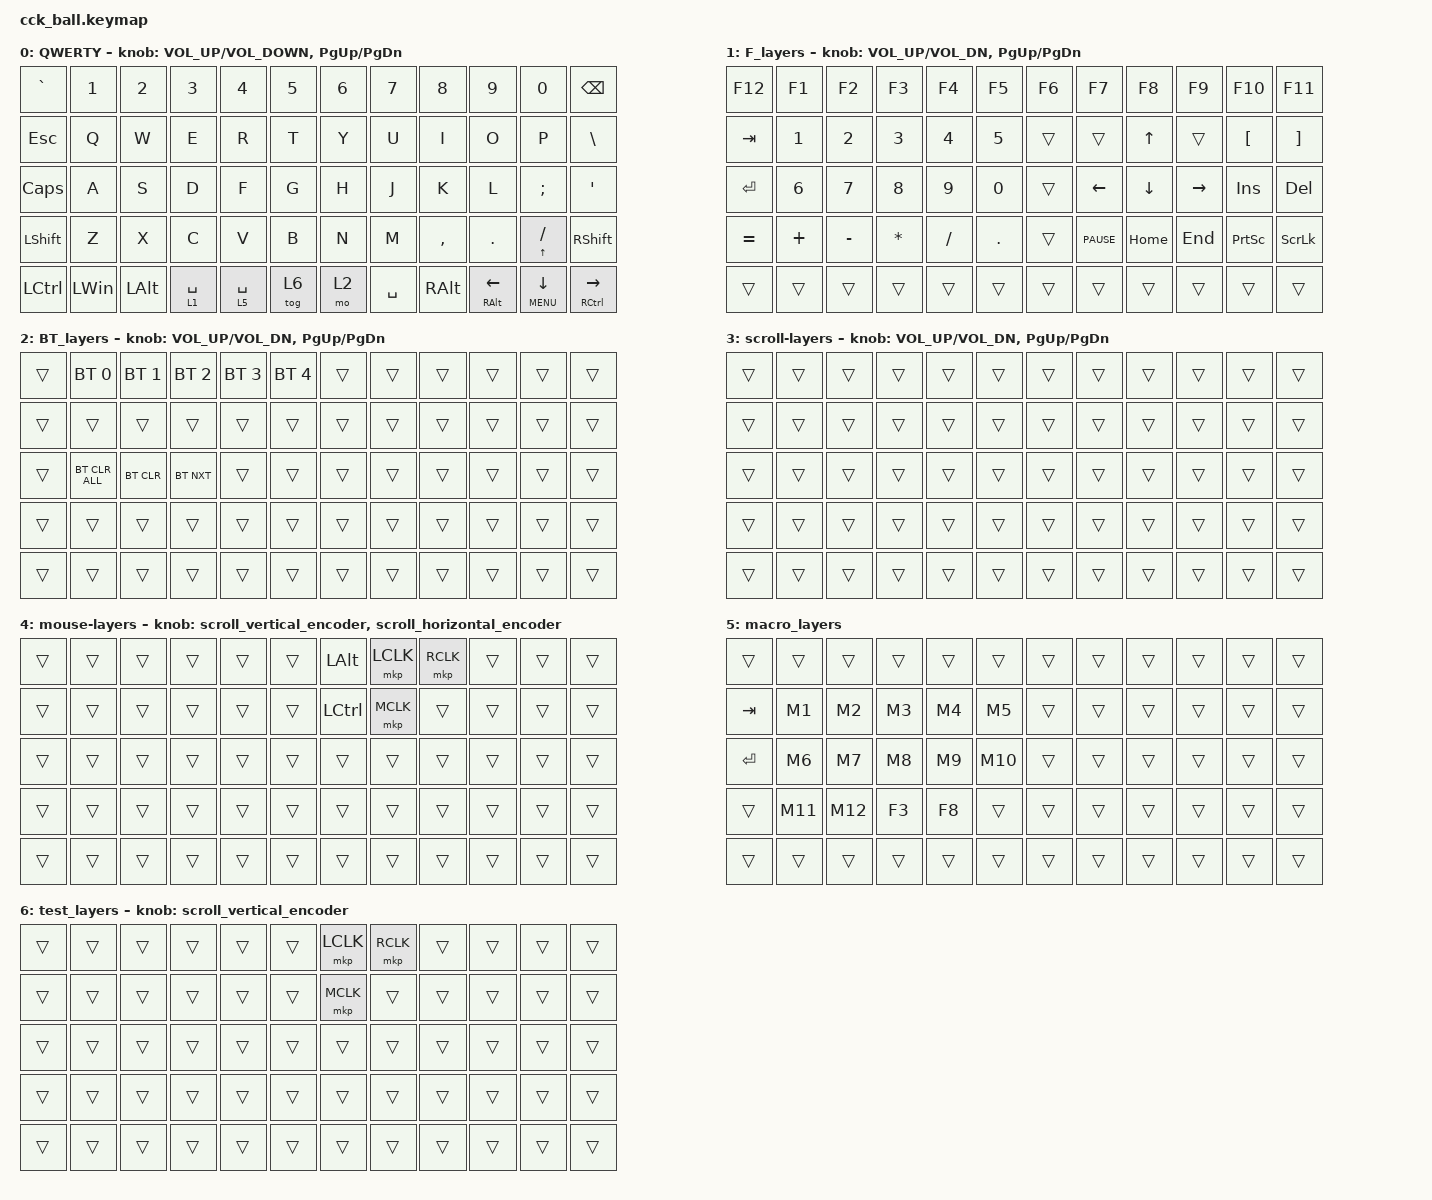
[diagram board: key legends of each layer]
#define ZMK_POINTING_DEFAULT_MOVE_VAL 1000 // 600
#define ZMK_POINTING_DEFAULT_SCRL_VAL 12   // 10

#include <input/processors.dtsi>
#include <zephyr/dt-bindings/input/input-event-codes.h>
#include <behaviors.dtsi>
#include <dt-bindings/zmk/bt.h>
#include <dt-bindings/zmk/keys.h>
#include <dt-bindings/zmk/pointing.h>

&mmv_input_listener { input-processors = <&zip_xy_scaler 2 1>; };

&msc_input_listener { input-processors = <&zip_scroll_scaler 2 1>; };

&msc {
    acceleration-exponent = <0>;      // 0
    time-to-max-speed-ms = <300>;       // 300
    delay-ms = <0>;                   // 0
};

&mmv {
    time-to-max-speed-ms = <500>;
    acceleration-exponent = <1>;
    trigger-period-ms = <16>;
};

&soft_off { hold-time-ms = <2000>; };

/ {
    // 上下滚动编码器行为

    scroll_vertical_encoder: scroll_vertical_encoder {
        compatible = "zmk,behavior-sensor-rotate";
        #sensor-binding-cells = <0>;
        bindings = <&msc SCRL_DOWN>, <&msc SCRL_UP>;

        tap-ms = <100>;
    };

    // 左右滚动编码器行为

    scroll_horizontal_encoder: scroll_horizontal_encoder {
        compatible = "zmk,behavior-sensor-rotate";
        #sensor-binding-cells = <0>;
        bindings = <&msc SCRL_LEFT>, <&msc SCRL_RIGHT>;

        tap-ms = <100>;
    };

    behaviors {
    };

    macros {
        M1: M1 {
            compatible = "zmk,behavior-macro";
            #binding-cells = <0>;
            bindings = <&kp LS(P) &kp LS(L) &kp RET>;
            label = "M1";
        };

        M2: M2 {
            compatible = "zmk,behavior-macro";
            #binding-cells = <0>;
            bindings = <&kp O &kp RET>;
            label = "M2";
        };

        M3: M3 {
            compatible = "zmk,behavior-macro";
            #binding-cells = <0>;
            bindings = <&kp M &kp RET>;
            label = "M3";
        };

        M4: M4 {
            compatible = "zmk,behavior-macro";
            #binding-cells = <0>;
            bindings = <&kp M &kp A &kp RET>;
            label = "M4";
        };

        M5: M5 {
            compatible = "zmk,behavior-macro";
            #binding-cells = <0>;
            bindings = <&kp R &kp O &kp RET>;
            label = "M5";
        };

        M6: M6 {
            compatible = "zmk,behavior-macro";
            #binding-cells = <0>;
            bindings = <&kp LS(A) &kp LS(L) &kp RET>;
            label = "M6";
        };

        M7: M7 {
            compatible = "zmk,behavior-macro";
            #binding-cells = <0>;
            bindings = <&kp LS(R) &kp LS(E) &kp LS(V) &kp LS(C) &kp LS(L) &kp LS(O) &kp LS(U) &kp LS(D) &kp RET>;
            label = "M7";
        };

        M8: M8 {
            compatible = "zmk,behavior-macro";
            #binding-cells = <0>;
            bindings = <&kp D &kp I &kp RET>;
            label = "M8";
        };

        M9: M9 {
            compatible = "zmk,behavior-macro";
            #binding-cells = <0>;
            bindings = <&kp P &kp RET>;
            label = "M9";
        };

        M10: mi {
            compatible = "zmk,behavior-macro";
            #binding-cells = <0>;
            bindings = <&kp M &kp I &kp RET>;
            label = "MI";
        };

        M11: M11 {
            compatible = "zmk,behavior-macro";
            #binding-cells = <0>;
            bindings = <&kp R &kp E &kp F &kp E &kp D &kp I &kp T &kp RET>;
            label = "M11";
        };

        M12: M12 {
            compatible = "zmk,behavior-macro";
            #binding-cells = <0>;
            bindings = <&kp R &kp E &kp F &kp C &kp L &kp O &kp S &kp E &kp RET>;
            label = "M12";
        };
    };

    keymap {
        compatible = "zmk,keymap";

        QWERTY {
            bindings = <
&kp GRAVE         &kp N1        &kp N2        &kp N3       &kp N4       &kp N5  &kp N6  &kp N7     &kp N8     &kp N9         &kp N0              &kp BACKSPACE
&kp ESC           &kp Q         &kp W         &kp E        &kp R        &kp T   &kp Y   &kp U      &kp I      &kp O          &kp P               &kp BSLH
&kp CAPSLOCK      &kp A         &kp S         &kp D        &kp F        &kp G   &kp H   &kp J      &kp K      &kp L          &kp SEMI            &kp SQT
&kp LEFT_SHIFT    &kp Z         &kp X         &kp C        &kp V        &kp B   &kp N   &kp M      &kp COMMA  &kp DOT        &mt UP_ARROW SLASH  &kp RSHFT
&kp LEFT_CONTROL  &kp LEFT_WIN  &kp LEFT_ALT  &lt 1 SPACE  &lt 5 SPACE  &tog 6  &mo 2   &kp SPACE  &kp RALT   &mt RALT LEFT  &mt K_MENU DOWN     &mt RCTRL RIGHT
            >;

            sensor-bindings =
                <&inc_dec_kp C_VOLUME_UP C_VOLUME_DOWN>,
                <&inc_dec_kp PG_UP PG_DN>;
        };

        F_layers {
            bindings = <
&kp F12    &kp F1        &kp F2        &kp F3        &kp F4        &kp F5        &kp F6  &kp F7       &kp F8          &kp F9     &kp F10           &kp F11
&kp TAB    &kp NUMBER_1  &kp NUMBER_2  &kp NUMBER_3  &kp NUMBER_4  &kp NUMBER_5  &trans  &trans       &kp UP_ARROW    &trans     &kp LEFT_BRACKET  &kp RIGHT_BRACKET
&kp ENTER  &kp NUMBER_6  &kp NUMBER_7  &kp NUMBER_8  &kp NUMBER_9  &kp NUMBER_0  &trans  &kp LEFT     &kp DOWN_ARROW  &kp RIGHT  &kp INS           &kp DEL
&kp EQUAL  &kp PLUS      &kp MINUS     &kp ASTERISK  &kp SLASH     &kp PERIOD    &trans  &kp C_PAUSE  &kp HOME        &kp END    &kp PRINTSCREEN   &kp SCROLLLOCK
&trans     &trans        &trans        &trans        &trans        &trans        &trans  &trans       &trans          &trans     &trans            &trans
            >;

            sensor-bindings = <&inc_dec_kp C_VOL_UP C_VOL_DN &inc_dec_kp PG_UP PG_DN>;
        };

        BT_layers {
            bindings = <
&trans  &bt BT_SEL 0    &bt BT_SEL 1  &bt BT_SEL 2  &bt BT_SEL 3  &bt BT_SEL 4  &trans  &trans  &trans  &trans  &trans  &trans
&trans  &trans          &trans        &trans        &trans        &trans        &trans  &trans  &trans  &trans  &trans  &trans
&trans  &bt BT_CLR_ALL  &bt BT_CLR    &bt BT_NXT    &trans        &trans        &trans  &trans  &trans  &trans  &trans  &trans
&trans  &trans          &trans        &trans        &trans        &trans        &trans  &trans  &trans  &trans  &trans  &trans
&trans  &trans          &trans        &trans        &trans        &trans        &trans  &trans  &trans  &trans  &trans  &trans
            >;

            sensor-bindings = <&inc_dec_kp C_VOL_UP C_VOL_DN &inc_dec_kp PG_UP PG_DN>;
        };

        scroll-layers {
            bindings = <
&trans  &trans  &trans  &trans  &trans  &trans  &trans  &trans  &trans  &trans  &trans  &trans
&trans  &trans  &trans  &trans  &trans  &trans  &trans  &trans  &trans  &trans  &trans  &trans
&trans  &trans  &trans  &trans  &trans  &trans  &trans  &trans  &trans  &trans  &trans  &trans
&trans  &trans  &trans  &trans  &trans  &trans  &trans  &trans  &trans  &trans  &trans  &trans
&trans  &trans  &trans  &trans  &trans  &trans  &trans  &trans  &trans  &trans  &trans  &trans
            >;

            sensor-bindings = <&inc_dec_kp C_VOL_UP C_VOL_DN &inc_dec_kp PG_UP PG_DN>;
        };

        mouse-layers {
            bindings = <
&trans  &trans  &trans  &trans  &trans  &trans  &kp LALT   &mkp LCLK  &mkp RCLK  &trans  &trans  &trans
&trans  &trans  &trans  &trans  &trans  &trans  &kp LCTRL  &mkp MCLK  &trans     &trans  &trans  &trans
&trans  &trans  &trans  &trans  &trans  &trans  &trans     &trans     &trans     &trans  &trans  &trans
&trans  &trans  &trans  &trans  &trans  &trans  &trans     &trans     &trans     &trans  &trans  &trans
&trans  &trans  &trans  &trans  &trans  &trans  &trans     &trans     &trans     &trans  &trans  &trans
            >;

            sensor-bindings =
                <&scroll_vertical_encoder>,
                // 编码器1：上下滚动,,,,,,,,,,,,,
                <&scroll_horizontal_encoder>;

            // 编码器2：左右滚动
        };

        macro_layers {
            bindings = <
&trans     &trans  &trans  &trans  &trans  &trans  &trans  &trans  &trans  &trans  &trans  &trans
&kp TAB    &M1     &M2     &M3     &M4     &M5     &trans  &trans  &trans  &trans  &trans  &trans
&kp ENTER  &M6     &M7     &M8     &M9     &M10    &trans  &trans  &trans  &trans  &trans  &trans
&trans     &M11    &M12    &kp F3  &kp F8  &trans  &trans  &trans  &trans  &trans  &trans  &trans
&trans     &trans  &trans  &trans  &trans  &trans  &trans  &trans  &trans  &trans  &trans  &trans
            >;
        };

        test_layers {
            bindings = <
&trans  &trans  &trans  &trans  &trans  &trans  &mkp LCLK  &mkp RCLK  &trans  &trans  &trans  &trans
&trans  &trans  &trans  &trans  &trans  &trans  &mkp MCLK  &trans     &trans  &trans  &trans  &trans
&trans  &trans  &trans  &trans  &trans  &trans  &trans     &trans     &trans  &trans  &trans  &trans
&trans  &trans  &trans  &trans  &trans  &trans  &trans     &trans     &trans  &trans  &trans  &trans
&trans  &trans  &trans  &trans  &trans  &trans  &trans     &trans     &trans  &trans  &trans  &trans
            >;

            sensor-bindings = <&scroll_vertical_encoder>;
        };
    };
};
